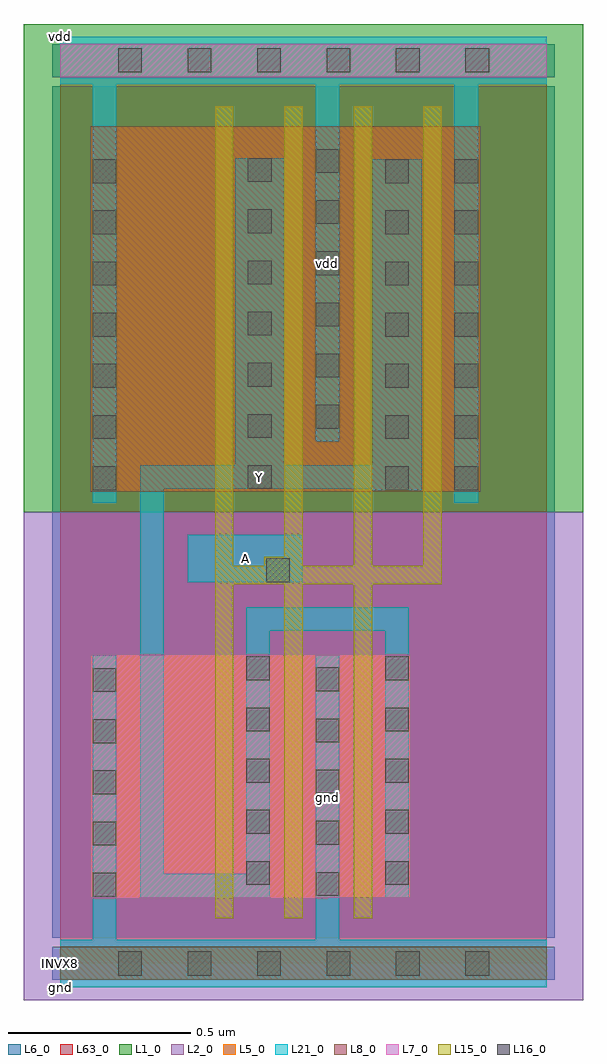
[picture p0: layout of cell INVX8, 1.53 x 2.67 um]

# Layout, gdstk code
import gdstk
lib = gdstk.Library(unit=1e-6, precision=1e-09)
def R(c, l, rs):  # rectangles x0, y0, x1, y1
    for r in rs: c.add(gdstk.rectangle(r[:2], r[2:], *l))
def A(c, l, x, y, w, h, nx, ny, dx, dy):  # array of equal rectangles
    R(c, l, [(x+i*dx, y+j*dy, x+i*dx+w, y+j*dy+h) for i in range(nx) for j in range(ny)])
def P(c, l, *ps):  # polygons
    for p in ps: c.add(gdstk.Polygon(p, *l))
L1_0 = (1, 0)
L2_0 = (2, 0)
L5_0 = (5, 0)
L6_0 = (6, 0)
L7_0 = (7, 0)
L8_0 = (8, 0)
L15_0 = (15, 0)
L16_0 = (16, 0)
L21_0 = (21, 0)
L63_0 = (63, 0)

invx8 = lib.new_cell('INVX8')
R(invx8, L1_0, [(-0.1,1.235,1.43,2.57)])
R(invx8, L2_0, [(-0.1,-0.1,1.43,1.235)])
A(invx8, L5_0, 0.423, 1.29, 0.05, 1, 4, 1, 0.19, 0)
A(invx8, L5_0, 0.473, 1.29, 0.14, 1, 3, 1, 0.19, 0)
R(invx8, L5_0, [(0,-0.045,1.33,0.045), (0.083,0.178,0.423,0.845), (0.423,0.178,0.473,0.845), (0.473,0.178,0.613,0.845), (0.613,0.178,0.663,0.845), (0.803,0.18,0.853,0.845), (0.853,0.18,0.958,0.845), (0.083,1.29,0.423,2.29), (1.043,1.29,1.148,2.29), (0,2.425,1.33,2.515)])
P(invx8, L5_0, [(0.803,0.845),(0.803,0.18),(0.733,0.18),(0.733,0.178),(0.663,0.178),(0.663,0.845)])
R(invx8, L6_0, [(-0.023,-0.045,1.353,0.045), (-0.023,-0.045,1.353,0.045), (-0.023,0.07,1.353,1.235), (-0.023,1.235,1.353,2.4), (-0.023,2.425,1.353,2.515), (-0.023,2.425,1.353,2.515)])
R(invx8, L7_0, [(0.083,0.178,0.423,0.845), (0.423,0.178,0.473,0.845), (0.473,0.178,0.613,0.845), (0.613,0.178,0.663,0.845), (0.803,0.18,0.853,0.845), (0.853,0.18,0.958,0.845), (0,2.425,1.33,2.515)])
P(invx8, L7_0, [(0.803,0.845),(0.803,0.18),(0.733,0.18),(0.733,0.178),(0.663,0.178),(0.663,0.845)])
A(invx8, L8_0, 0.423, 1.29, 0.05, 1, 4, 1, 0.19, 0)
A(invx8, L8_0, 0.473, 1.29, 0.14, 1, 3, 1, 0.19, 0)
R(invx8, L8_0, [(0,-0.045,1.33,0.045), (0.083,1.29,0.423,2.29), (1.043,1.29,1.148,2.29)])
A(invx8, L15_0, 0.423, 1.29, 0.05, 1, 4, 1, 0.19, 0)
A(invx8, L15_0, 0.423, 2.29, 0.05, 0.055, 4, 1, 0.19, 0)
R(invx8, L15_0, [(0.423,0.123,0.473,0.178), (0.613,0.123,0.663,0.178), (0.803,0.123,0.853,0.18), (0.423,0.178,0.473,0.845), (0.613,0.178,0.663,0.845), (0.803,0.18,0.853,0.845)])
P(invx8, L15_0, [(0.423,1.29),(0.473,1.29),(0.473,1.088),(0.558,1.088),(0.558,1.113),(0.613,1.113),(0.613,1.29),(0.663,1.29),(0.663,1.088),(0.803,1.088),(0.803,1.29),(0.853,1.29),(0.853,1.088),(0.993,1.088),(0.993,1.29),(1.043,1.29),(1.043,1.038),(0.853,1.038),(0.853,0.845),(0.803,0.845),(0.803,1.038),(0.663,1.038),(0.663,0.845),(0.613,0.845),(0.613,1.038),(0.473,1.038),(0.473,0.845),(0.423,0.845)])
A(invx8, L16_0, 0.158, -0.033, 0.065, 0.066, 6, 1, 0.19, 0)
A(invx8, L16_0, 0.088, 0.183, 0.065, 0.065, 1, 5, 0, 0.14)
A(invx8, L16_0, 0.698, 0.185, 0.065, 0.065, 1, 5, 0, 0.14)
A(invx8, L16_0, 0.508, 0.215, 0.065, 0.065, 1, 5, 0, 0.14)
A(invx8, L16_0, 0.888, 0.215, 0.065, 0.065, 1, 5, 0, 0.14)
A(invx8, L16_0, 0.088, 1.295, 0.065, 0.065, 1, 7, 0, 0.14)
A(invx8, L16_0, 0.888, 1.295, 0.065, 0.065, 1, 7, 0, 0.14)
A(invx8, L16_0, 1.078, 1.295, 0.065, 0.065, 1, 7, 0, 0.14)
A(invx8, L16_0, 0.513, 1.298, 0.065, 0.065, 1, 7, 0, 0.14)
A(invx8, L16_0, 0.698, 1.463, 0.065, 0.065, 1, 6, 0, 0.14)
A(invx8, L16_0, 0.158, 2.438, 0.065, 0.065, 6, 1, 0.19, 0)
R(invx8, L16_0, [(0.563,1.043,0.628,1.108)])
R(invx8, L21_0, [(0.348,1.043,0.663,1.173)])
P(invx8, L21_0, [(0,2.405),(0,2.535),(1.33,2.535),(1.33,2.405),(1.143,2.405),(1.143,1.26),(1.078,1.26),(1.078,2.405),(0.763,2.405),(0.763,1.428),(0.698,1.428),(0.698,2.405),(0.153,2.405),(0.153,1.26),(0.088,1.26),(0.088,2.405)],
  [(0,-0.065),(0,0.065),(0.088,0.065),(0.088,0.843),(0.153,0.843),(0.153,0.065),(0.698,0.065),(0.698,0.845),(0.763,0.845),(0.763,0.065),(1.33,0.065),(1.33,-0.065)],
  [(0.283,1.298),(0.283,0.245),(0.508,0.245),(0.508,0.975),(0.953,0.975),(0.953,0.18),(0.888,0.18),(0.888,0.91),(0.573,0.91),(0.573,0.18),(0.218,0.18),(0.218,1.363),(0.478,1.363),(0.478,2.203),(0.613,2.203),(0.613,1.363),(0.853,1.363),(0.853,2.2),(0.988,2.2),(0.988,1.295),(0.853,1.295),(0.853,1.298)])
R(invx8, L63_0, [(0,0,1.33,2.47)])
invx8.add(gdstk.Label('vdd', (0.73,1.916), layer=21, texttype=1))
invx8.add(gdstk.Label('gnd', (0.73,0.455), layer=21, texttype=1))
invx8.add(gdstk.Label('Y', (0.545,1.33), layer=21, texttype=1))
invx8.add(gdstk.Label('A', (0.505,1.108), layer=21, texttype=1))
invx8.add(gdstk.Label('vdd', (0,2.535), layer=21, texttype=2))
invx8.add(gdstk.Label('gnd', (0,-0.065), layer=21, texttype=2))
invx8.add(gdstk.Label('INVX8', (0,0), layer=63, texttype=1))

lib.write_gds('INVX8.gds')
